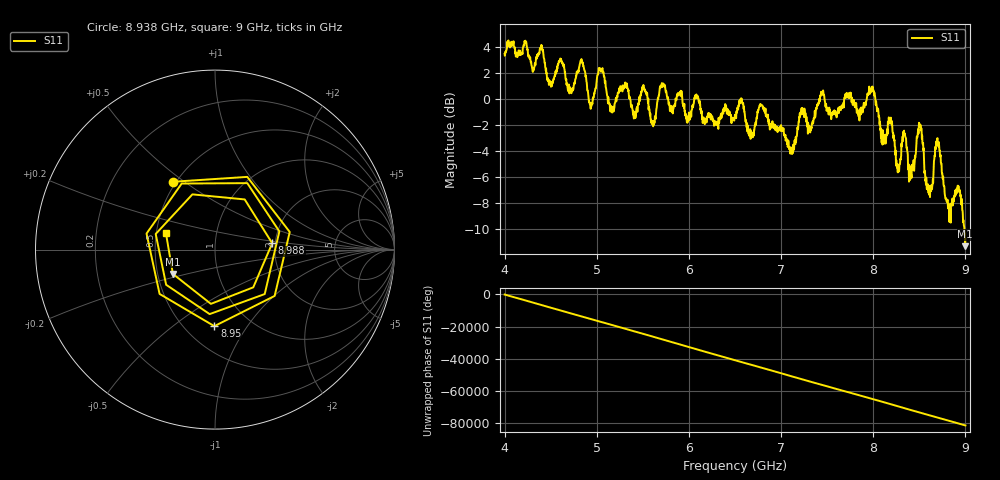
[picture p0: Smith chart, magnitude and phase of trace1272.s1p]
! Created with skrf 1.8.0 (http://scikit-rf.org).
# Hz S RI R 50.0
!freq ReS11 ImS11
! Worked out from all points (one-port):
!   1601 points, 4 GHz to 9 GHz, reference 50 ohm
!   lowest |S11| = -11.3 dB at 8.997 GHz (marker M1), VSWR 1.74, Z = 30 - j8.78 ohm
!   |S11| at or under -10 dB: 8.98862 GHz to end of sweep
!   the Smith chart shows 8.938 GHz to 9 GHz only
!   S11 on the Smith chart (normalised r, x): 8.938 GHz: 0.48, +0.46; 8.95 GHz: 0.69, -0.72; 8.988 GHz: 1.93, +0.15; 9 GHz: 0.56, +0.11
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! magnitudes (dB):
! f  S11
! 4 GHz  3.5
! 4.625 GHz  2.8
! 4.712 GHz  0.6
! 4.844 GHz  2.7
! 4.934 GHz  -0.8
! 5.041 GHz  2.2
! 5.162 GHz  -1.0
! 5.25 GHz  0.7
! 5.609 GHz  -1.8
! 5.706 GHz  1.2
! 5.875 GHz  0.4
! 6.5 GHz  -1.2
! 6.791 GHz  -0.5
! 7.125 GHz  -4.2
! 7.228 GHz  -1.2
! 7.75 GHz  0.5
! 7.994 GHz  0.9
! 8.109 GHz  -3.2
! 8.375 GHz  -4.3
! 8.506 GHz  -2.1
! 8.603 GHz  -7.1
! 8.697 GHz  -3.0
! 8.816 GHz  -8.2
! 8.938 GHz  -7.1
! 8.95 GHz  -7.4
! 8.988 GHz  -9.9
! 8.997 GHz  -11.3
! 9 GHz  -10.8
